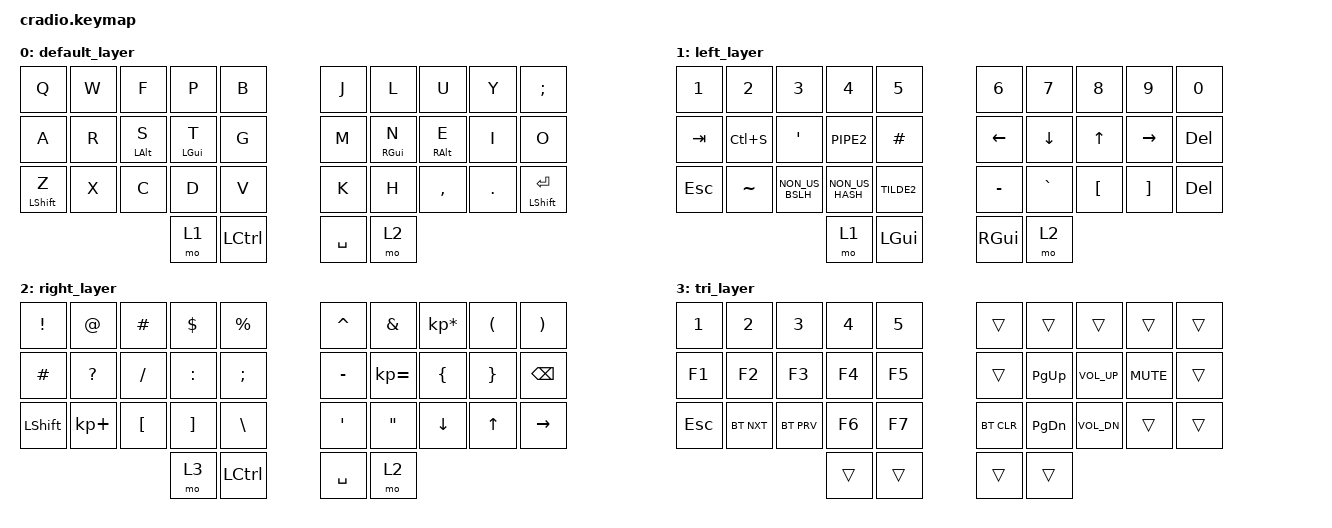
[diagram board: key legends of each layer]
/*
 * Copyright (c) 2022 The ZMK Contributors
 *
 * SPDX-License-Identifier: MIT
 */

#include <behaviors.dtsi>
#include <dt-bindings/zmk/keys.h>
#include <dt-bindings/zmk/bt.h>


&mt {
    flavor = "tap-preferred";
    tapping-term-ms = <200>;
};

/ {

    combos {
        compatible = "zmk,combos";
        combo_esc {
            timeout-ms = <50>;
            key-positions = <0 1>;
            bindings = <&kp ESC>;
        };

         combo_tab {
            timeout-ms = <50>;
            key-positions = <10 11>;
            bindings = <&kp TAB>;
        };

        combo_ralt {
            timeout-ms = <50>;
            key-positions = <17 16>;
            bindings = <&kp RALT>;
        };

        combo_lalt {
            timeout-ms = <50>;
            key-positions = <11 12>;
            bindings = <&kp LALT>;
        };

        combo_lgui {
            timeout-ms = <50>;
            key-positions = <12 13>;
            bindings = <&kp LGUI>;
        };


       combo_rgui {
            timeout-ms = <50>;
            key-positions = <17 18>;
            bindings = <&kp RGUI>;
        };
    };

        keymap {
                compatible = "zmk,keymap";

        default_layer {
            bindings = <
            &kp Q &kp W &kp F &kp P &kp B                       &kp J &kp L  &kp U    &kp Y   &kp SEMI
            &kp A &kp R &mt LALT S &mt LGUI T &kp G             &kp M &mt RGUI N &mt RALT E &kp I &kp O
            &mt LSHFT Z &kp X &kp C &kp D &kp V                 &kp K &kp H  &kp COMMA &kp DOT &mt LSHFT RET
                            &mo 1 &kp LCTRL                  &kp SPACE &mo 2
            >;
        };

        left_layer {
            bindings = <
            &kp N1  &kp N2    &kp N3    &kp N4    &kp N5     &kp N6 &kp N7 &kp N8 &kp N9 &kp N0
            &kp TAB    &kp LC(S)    &kp SQT      &kp PIPE2     &kp HASH         &kp LEFT &kp DOWN  &kp UP &kp RIGHT  &kp DEL
            &kp ESC    &kp TILDE    &kp NON_US_BSLH &kp NON_US_HASH  &kp TILDE2     &kp MINUS &kp GRAVE &kp LBKT &kp RBKT  &kp DEL
                            &mo 1  &kp LGUI                     &kp RGUI &mo 2
            >;
        };

        right_layer {
            bindings = <
            &kp EXCL  &kp AT &kp HASH  &kp DLLR  &kp PRCNT             &kp CARET  &kp AMPS &kp KP_MULTIPLY &kp LPAR &kp RPAR
            &kp HASH  &kp QMARK  &kp FSLH  &kp COLON  &kp SEMI           &kp MINUS &kp KP_EQUAL  &kp LBRC  &kp RBRC   &kp BSPC
                &kp LSHFT  &kp KP_PLUS &kp LBKT &kp RBKT   &kp BSLH             &kp SQT &kp DQT &kp DOWN &kp UP  &kp RIGHT
                          &mo 3 &kp LCTRL                &kp SPACE  &mo 2
            >;
        };

        tri_layer {
            bindings = <
            &kp N1  &kp N2    &kp N3    &kp N4    &kp N5             &trans &trans   &trans   &trans  &trans
            &kp F1 &kp F2 &kp F3 &kp F4 &kp F5                          &trans &kp PG_UP  &kp K_VOL_UP &kp K_MUTE &trans
            &kp ESC  &bt BT_NXT &bt BT_PRV &kp F6 &kp F7                 &bt BT_CLR &kp PG_DN  &kp K_VOL_DN  &trans &trans
                         &trans &trans                      &trans &trans
            >;
        };

    };
};
